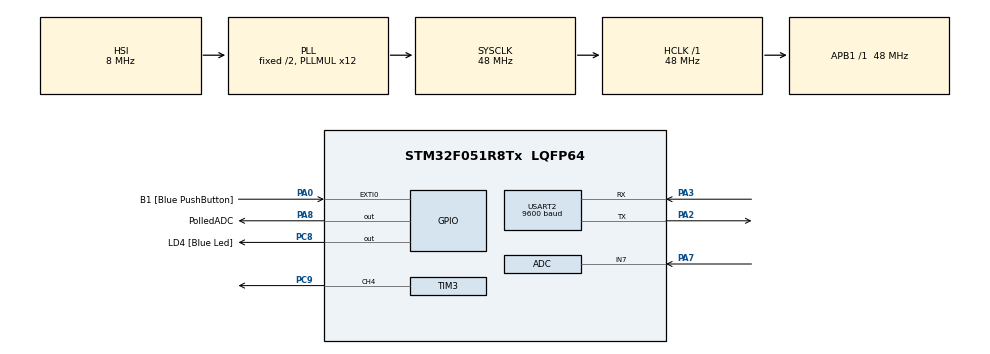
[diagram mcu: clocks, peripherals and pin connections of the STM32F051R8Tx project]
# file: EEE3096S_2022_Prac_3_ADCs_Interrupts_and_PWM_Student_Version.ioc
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Dma.ADC.1.Direction=DMA_PERIPH_TO_MEMORY
Dma.ADC.1.Instance=DMA1_Channel1
Dma.ADC.1.MemDataAlignment=DMA_MDATAALIGN_HALFWORD
Dma.ADC.1.MemInc=DMA_MINC_ENABLE
Dma.ADC.1.Mode=DMA_NORMAL
Dma.ADC.1.PeriphDataAlignment=DMA_PDATAALIGN_HALFWORD
Dma.ADC.1.PeriphInc=DMA_PINC_DISABLE
Dma.ADC.1.Priority=DMA_PRIORITY_LOW
Dma.Request0=USART2_TX
Dma.Request1=ADC
Dma.USART2_TX.0.Direction=DMA_MEMORY_TO_PERIPH
Dma.USART2_TX.0.Instance=DMA1_Channel4
Dma.USART2_TX.0.MemDataAlignment=DMA_MDATAALIGN_BYTE
Dma.USART2_TX.0.MemInc=DMA_MINC_ENABLE
Dma.USART2_TX.0.Mode=DMA_NORMAL
Dma.USART2_TX.0.PeriphDataAlignment=DMA_PDATAALIGN_BYTE
Dma.USART2_TX.0.PeriphInc=DMA_PINC_DISABLE
Dma.USART2_TX.0.Priority=DMA_PRIORITY_LOW
Mcu.Family=STM32F0
Mcu.Name=STM32F051R8Tx
Mcu.Package=LQFP64
NVIC.ADC1_COMP_IRQn=true\:0\:0\:false\:false\:true\:true\:true\:true
NVIC.DMA1_Channel1_IRQn=true\:0\:0\:false\:false\:true\:false\:true\:true
NVIC.DMA1_Channel4_5_IRQn=true\:0\:0\:false\:false\:true\:false\:true\:true
NVIC.EXTI0_1_IRQn=true\:0\:0\:false\:false\:true\:true\:true\:true
NVIC.USART2_IRQn=true\:0\:0\:false\:false\:true\:true\:true\:true
PA0.GPIO_Label=B1 [Blue PushButton]
PA0.GPIO_ModeDefaultEXTI=GPIO_MODE_IT_FALLING
PA0.Signal=GPXTI0
PA13.GPIO_Label=SWDIO
PA13.Mode=Serial_Wire
PA13.Signal=SYS_SWDIO
PA14.GPIO_Label=SWCLK
PA14.Mode=Serial_Wire
PA14.Signal=SYS_SWCLK
PA2.Mode=Asynchronous
PA2.Signal=USART2_TX
PA3.Mode=Asynchronous
PA3.Signal=USART2_RX
PA7.Mode=IN7
PA7.Signal=ADC_IN7
PA8.GPIO_Label=PolledADC
PA8.Signal=GPIO_Output
PB6.Signal=I2C1_SCL
PB7.Signal=I2C1_SDA
PC8.GPIO_Label=LD4 [Blue Led]
PC8.Signal=GPIO_Output
PC9.Signal=S_TIM3_CH4
PF0-OSC_IN.Mode=HSE-External-Oscillator
PF0-OSC_IN.Signal=RCC_OSC_IN
PF1-OSC_OUT.Mode=HSE-External-Oscillator
PF1-OSC_OUT.Signal=RCC_OSC_OUT
ProjectManager.HeapSize=0x200
ProjectManager.StackSize=0x400
ProjectManager.TargetToolchain=STM32CubeIDE
RCC.AHBFreq_Value=48000000
RCC.APB1Freq_Value=48000000
RCC.APB1TimFreq_Value=48000000
RCC.HCLKFreq_Value=48000000
RCC.PLLMUL=RCC_PLL_MUL12
RCC.SYSCLKFreq_VALUE=48000000
RCC.SYSCLKSource=RCC_SYSCLKSOURCE_PLLCLK
SH.S_TIM3_CH4.0=TIM3_CH4,PWM Generation4 CH4
TIM3.AutoReloadPreload=TIM_AUTORELOAD_PRELOAD_ENABLE
TIM3.Channel-PWM\ Generation4\ CH4=TIM_CHANNEL_4
TIM3.Period=47999
USART2.BaudRate=9600
USART2.VirtualMode-Asynchronous=VM_ASYNC
VP_TIM3_VS_ClockSourceINT.Mode=Internal
board=STM32F0DISCOVERY

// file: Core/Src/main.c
/* USER CODE BEGIN Header */
/**
*******************************************************
Info:		STM32 ADCs, GPIO Interrupts and PWM with HAL
Author:		Amaan Vally
******************************************************************************
  */
/* USER CODE END Header */
#include "main.h"

ADC_HandleTypeDef hadc;
DMA_HandleTypeDef hdma_adc;

TIM_HandleTypeDef htim3;

UART_HandleTypeDef huart2;
DMA_HandleTypeDef hdma_usart2_tx;

/* USER CODE BEGIN PV */
char buffer[24];
int arr[32];

//Create global variables for debouncing and delay interval
int DELAY = 1000; //Set initial delay to 1000ms = 1s
int freq = 1;
char data[]={0,1,1,0,1,0,0,0,0,0,0,1,1};
int count = 5;

/* USER CODE END PV */

void SystemClock_Config(void);
static void MX_GPIO_Init(void);
static void MX_DMA_Init(void);
static void MX_USART2_UART_Init(void);
static void MX_ADC_Init(void);
static void MX_TIM3_Init(void);
/* USER CODE BEGIN PFP */
void EXTI0_1_IRQHandler(void);
uint32_t pollADC(void);
uint32_t ADCtoCRR(uint32_t adc_val);
int StartCheck();
int StopCheck(char data[]);
double Decode(char data[]);
/* USER CODE END PFP */

int main(void)
{

  /* MCU Configuration--------------------------------------------------------*/

  /* Reset of all peripherals, Initializes the Flash interface and the Systick. */
  HAL_Init();

  /* Configure the system clock */
  SystemClock_Config();

  /* Initialize all configured peripherals */
  MX_GPIO_Init();
  MX_DMA_Init();
  MX_USART2_UART_Init();
  MX_ADC_Init();
  MX_TIM3_Init();
  /* USER CODE BEGIN 2 */
  //Create variables needed in while loop

  /* USER CODE END 2 */

  /* Infinite loop */
  /* USER CODE BEGIN WHILE */
  while (1)
  {

	  if(StartCheck() == 1)//Checks if the start sequence has occurred
	  {
		  HAL_Delay(200);//Delays by 200ms
		  for(int k = 0; k < 13;k++)//Runs a loop to store the 13 bits of data into a char array
		  {
			if(HAL_GPIO_ReadPin(GPIOA, GPIO_PIN_8) == 1)//Stores a value of 1 if the GPIO Pin reads a high
			{
				data[k] = '1';//Sets the value of 1 into the char array
				HAL_Delay(200);//Delays  by 200ms
				count++;//Adds the number of 1 to the total to use for the parity check
			}
			else
			{
				data[k] = '0';//Sets a value of 0 into the char array
				HAL_Delay(200);//Delays by 200ms
			}
		  }

		  if(parityCheck(count) == 0)//If parity fails message displays
		  {
			  sprintf(buffer, "Message not valid");
			  HAL_UART_Transmit(&huart2, buffer, sizeof(buffer), 1000);
		  }
		  else
		  {
			  sprintf(buffer, "Message IS valid");//If parity passes
			  HAL_UART_Transmit(&huart2, buffer, sizeof(buffer), 1000);
			  sprintf(buffer, "Final Value:%ld\n\r", Decode(data));//Displays the binary message sent as a decimal number
			  HAL_UART_Transmit(&huart2, buffer, sizeof(buffer), 1000);
		  }

		  if(StopCheck(data) == 0)//Checks if the start sequence was correct
		  {
			  sprintf(buffer, "Message Ended");
			  HAL_UART_Transmit(&huart2, buffer, sizeof(buffer), 1000);
		  }

	 // }

  }
    /* USER CODE END WHILE */

}

/**
* @function Decode
* @abstract Converts a binary char array into the correct decimal value
* @param data[] char array to be converted to a double
* @return double The double value that corresponds to the char array that is given as a parameter
*/
double Decode(char data[])
{
	double total = 0;//creates a total varable for the binary value
	for(int a = 0; a <= 11; a++)//Runs a loop to run through the data is big endian format
	{

		if(data[a] == '1')//Checks when the vaue of the array is  1
		{
			double power = pow(2.0,(double)(11-a));//Adds the 1 to the correct power of 2 into the total variable
			total = total + power;
		}
	}
	return total;//Returns the final decimal value
}
/**
* @function parityCheck
* @abstract Checks if the transferred parity bit is correct
* @param int The count of the total number of 1s in the message sequence
* @return int 1 if the parity is correct, 0 if not correct
*/

int parityCheck(int count)//Checks whether the parity bit of the data matches the data
{
	int parity = count%2;//stores the value of the number of 1's mod 2 into a variable
	if(data[12] == parity)//Compares the 13th bit of data(parity bit) to the the parity calculated from the data
	{
		return 1;//Returns 1 if the parity matches
	}
	else
		return 0;//Returns 0 if the partiy does not match
}

/**
* @function StartCheck
* @abstract Checks if the start condition of the message protocol is met
* @param void Reads in the value from the appropriate GPIO Pin
* @return int 1 if the start protocol is met, 0 if it is not met
*/
int StartCheck(void)
{
	for(int a = 0; a < 2;a++)//Starts a loop to check for the first two bits
	{
		if(HAL_GPIO_ReadPin(GPIOA, GPIO_PIN_8) == 1)//Checks if the first bit is a 1
		{
			HAL_Delay(200);//Delays of 200ms before second bit is checked
			if(HAL_GPIO_ReadPin(GPIOA, GPIO_PIN_8) == 1)//Checks to see if the second bit is a 1
					{
						return 1;//Start Sequence is confirmed
					}
			else
				return 0;//Start Sequence  is wrong
		}
		else
			return 0;//Start sequence is wrong
	}

	return 0;
}

/**
* @function StopCheck
* @abstract Checks if the stop condition of the message protocol is met
* @param data[] A char array of the data that is being checked for a stop condition
* @return int 1 if the stop condition is met, 0 if it is not met
*/
int StopCheck(char data[])//Check whether the stop sequence is activated
{
	int end = 0;
	for(int k = 0;k < 13;k++)//Runs loop through all 13 data bits
	{
		if(data[k] != '0')//Checks if the data is received is 0s
		{
			end = 0;//Set end to zero is a zero is received
		}
		else
		{
			end = 1;//Should a 1 be in the message, end will be become 1
			break;//Exits the the loop
		}
	}
	return end;//Return the value of end

}
void SystemClock_Config(void)
{
  RCC_OscInitTypeDef RCC_OscInitStruct = {0};
  RCC_ClkInitTypeDef RCC_ClkInitStruct = {0};

  /** Initializes the RCC Oscillators according to the specified parameters
  * in the RCC_OscInitTypeDef structure.
  */
  RCC_OscInitStruct.OscillatorType = RCC_OSCILLATORTYPE_HSI|RCC_OSCILLATORTYPE_HSI14;
  RCC_OscInitStruct.HSIState = RCC_HSI_ON;
  RCC_OscInitStruct.HSI14State = RCC_HSI14_ON;
  RCC_OscInitStruct.HSICalibrationValue = RCC_HSICALIBRATION_DEFAULT;
  RCC_OscInitStruct.HSI14CalibrationValue = 16;
  RCC_OscInitStruct.PLL.PLLState = RCC_PLL_NONE;
  RCC_OscInitStruct.PLL.PLLSource = RCC_PLLSOURCE_HSI;
  RCC_OscInitStruct.PLL.PLLMUL = RCC_PLL_MUL12;
  RCC_OscInitStruct.PLL.PREDIV = RCC_PREDIV_DIV1;
  if (HAL_RCC_OscConfig(&RCC_OscInitStruct) != HAL_OK)
  {
    Error_Handler();
  }

  /** Initializes the CPU, AHB and APB buses clocks
  */
  RCC_ClkInitStruct.ClockType = RCC_CLOCKTYPE_HCLK|RCC_CLOCKTYPE_SYSCLK
                              |RCC_CLOCKTYPE_PCLK1;
  RCC_ClkInitStruct.SYSCLKSource = RCC_SYSCLKSOURCE_PLLCLK;
  RCC_ClkInitStruct.AHBCLKDivider = RCC_SYSCLK_DIV1;
  RCC_ClkInitStruct.APB1CLKDivider = RCC_HCLK_DIV1;

  if (HAL_RCC_ClockConfig(&RCC_ClkInitStruct, FLASH_LATENCY_1) != HAL_OK)
  {
    Error_Handler();
  }
}

static void MX_ADC_Init(void)
{

  ADC_ChannelConfTypeDef sConfig = {0};

  /** Configure the global features of the ADC (Clock, Resolution, Data Alignment and number of conversion)
  */
  hadc.Instance = ADC1;
  hadc.Init.ClockPrescaler = ADC_CLOCK_ASYNC_DIV1;
  hadc.Init.Resolution = ADC_RESOLUTION_12B;
  hadc.Init.DataAlign = ADC_DATAALIGN_RIGHT;
  hadc.Init.ScanConvMode = ADC_SCAN_DIRECTION_FORWARD;
  hadc.Init.EOCSelection = ADC_EOC_SINGLE_CONV;
  hadc.Init.LowPowerAutoWait = DISABLE;
  hadc.Init.LowPowerAutoPowerOff = DISABLE;
  hadc.Init.ContinuousConvMode = DISABLE;
  hadc.Init.DiscontinuousConvMode = DISABLE;
  hadc.Init.ExternalTrigConv = ADC_SOFTWARE_START;
  hadc.Init.ExternalTrigConvEdge = ADC_EXTERNALTRIGCONVEDGE_NONE;
  hadc.Init.DMAContinuousRequests = DISABLE;
  hadc.Init.Overrun = ADC_OVR_DATA_PRESERVED;
  if (HAL_ADC_Init(&hadc) != HAL_OK)
  {
    Error_Handler();
  }

  /** Configure for the selected ADC regular channel to be converted.
  */
  sConfig.Channel = ADC_CHANNEL_7;
  sConfig.Rank = ADC_RANK_CHANNEL_NUMBER;
  sConfig.SamplingTime = ADC_SAMPLETIME_1CYCLE_5;
  if (HAL_ADC_ConfigChannel(&hadc, &sConfig) != HAL_OK)
  {
    Error_Handler();
  }

}

static void MX_TIM3_Init(void)
{

  TIM_ClockConfigTypeDef sClockSourceConfig = {0};
  TIM_MasterConfigTypeDef sMasterConfig = {0};
  TIM_OC_InitTypeDef sConfigOC = {0};

  htim3.Instance = TIM3;
  htim3.Init.Prescaler = 0;
  htim3.Init.CounterMode = TIM_COUNTERMODE_UP;
  htim3.Init.Period = 47999;
  htim3.Init.ClockDivision = TIM_CLOCKDIVISION_DIV1;
  htim3.Init.AutoReloadPreload = TIM_AUTORELOAD_PRELOAD_ENABLE;
  if (HAL_TIM_Base_Init(&htim3) != HAL_OK)
  {
    Error_Handler();
  }
  sClockSourceConfig.ClockSource = TIM_CLOCKSOURCE_INTERNAL;
  if (HAL_TIM_ConfigClockSource(&htim3, &sClockSourceConfig) != HAL_OK)
  {
    Error_Handler();
  }
  if (HAL_TIM_PWM_Init(&htim3) != HAL_OK)
  {
    Error_Handler();
  }
  sMasterConfig.MasterOutputTrigger = TIM_TRGO_RESET;
  sMasterConfig.MasterSlaveMode = TIM_MASTERSLAVEMODE_DISABLE;
  if (HAL_TIMEx_MasterConfigSynchronization(&htim3, &sMasterConfig) != HAL_OK)
  {
    Error_Handler();
  }
  sConfigOC.OCMode = TIM_OCMODE_PWM1;
  sConfigOC.Pulse = 0;
  sConfigOC.OCPolarity = TIM_OCPOLARITY_HIGH;
  sConfigOC.OCFastMode = TIM_OCFAST_DISABLE;
  if (HAL_TIM_PWM_ConfigChannel(&htim3, &sConfigOC, TIM_CHANNEL_4) != HAL_OK)
  {
    Error_Handler();
  }
  HAL_TIM_MspPostInit(&htim3);

}

static void MX_USART2_UART_Init(void)
{

  huart2.Instance = USART2;
  huart2.Init.BaudRate = 9600;
  huart2.Init.WordLength = UART_WORDLENGTH_8B;
  huart2.Init.StopBits = UART_STOPBITS_1;
  huart2.Init.Parity = UART_PARITY_NONE;
  huart2.Init.Mode = UART_MODE_TX_RX;
  huart2.Init.HwFlowCtl = UART_HWCONTROL_NONE;
  huart2.Init.OverSampling = UART_OVERSAMPLING_16;
  huart2.Init.OneBitSampling = UART_ONE_BIT_SAMPLE_DISABLE;
  huart2.AdvancedInit.AdvFeatureInit = UART_ADVFEATURE_NO_INIT;
  if (HAL_UART_Init(&huart2) != HAL_OK)
  {
    Error_Handler();
  }

}

static void MX_DMA_Init(void)
{

  /* DMA controller clock enable */
  __HAL_RCC_DMA1_CLK_ENABLE();

  /* DMA interrupt init */
  /* DMA1_Channel1_IRQn interrupt configuration */
  HAL_NVIC_SetPriority(DMA1_Channel1_IRQn, 0, 0);
  HAL_NVIC_EnableIRQ(DMA1_Channel1_IRQn);
  /* DMA1_Channel4_5_IRQn interrupt configuration */
  HAL_NVIC_SetPriority(DMA1_Channel4_5_IRQn, 0, 0);
  HAL_NVIC_EnableIRQ(DMA1_Channel4_5_IRQn);

}

static void MX_GPIO_Init(void)
{
  GPIO_InitTypeDef GPIO_InitStruct = {0};

  /* GPIO Ports Clock Enable */
  __HAL_RCC_GPIOF_CLK_ENABLE();
  __HAL_RCC_GPIOA_CLK_ENABLE();
  __HAL_RCC_GPIOC_CLK_ENABLE();
  __HAL_RCC_GPIOB_CLK_ENABLE();

  /*Configure GPIO pin Output Level */
  HAL_GPIO_WritePin(LD4_GPIO_Port, LD4_Pin, GPIO_PIN_RESET);

  /*Configure GPIO pin Output Level */
  HAL_GPIO_WritePin(PolledADC_GPIO_Port, PolledADC_Pin, GPIO_PIN_RESET);

  /*Configure GPIO pin : B1_Pin */
  GPIO_InitStruct.Pin = B1_Pin;
  GPIO_InitStruct.Mode = GPIO_MODE_IT_FALLING;
  GPIO_InitStruct.Pull = GPIO_NOPULL;
  HAL_GPIO_Init(B1_GPIO_Port, &GPIO_InitStruct);

  /*Configure GPIO pin : LD4_Pin */
  GPIO_InitStruct.Pin = LD4_Pin;
  GPIO_InitStruct.Mode = GPIO_MODE_OUTPUT_PP;
  GPIO_InitStruct.Pull = GPIO_NOPULL;
  GPIO_InitStruct.Speed = GPIO_SPEED_FREQ_LOW;
  HAL_GPIO_Init(LD4_GPIO_Port, &GPIO_InitStruct);

  /*Configure GPIO pin : PolledADC_Pin */
  GPIO_InitStruct.Pin = PolledADC_Pin;
  GPIO_InitStruct.Mode = GPIO_MODE_OUTPUT_PP;
  GPIO_InitStruct.Pull = GPIO_NOPULL;
  GPIO_InitStruct.Speed = GPIO_SPEED_FREQ_LOW;
  HAL_GPIO_Init(PolledADC_GPIO_Port, &GPIO_InitStruct);

  /*Configure GPIO pins : PB6 PB7 */
  GPIO_InitStruct.Pin = GPIO_PIN_6|GPIO_PIN_7;
  GPIO_InitStruct.Mode = GPIO_MODE_AF_OD;
  GPIO_InitStruct.Pull = GPIO_NOPULL;
  GPIO_InitStruct.Speed = GPIO_SPEED_FREQ_HIGH;
  GPIO_InitStruct.Alternate = GPIO_AF1_I2C1;
  HAL_GPIO_Init(GPIOB, &GPIO_InitStruct);

  /* EXTI interrupt init*/
  HAL_NVIC_SetPriority(EXTI0_1_IRQn, 0, 0);
  HAL_NVIC_EnableIRQ(EXTI0_1_IRQn);

}

/* USER CODE BEGIN 4 */
void EXTI0_1_IRQHandler(void)
{

	//TASK 1
	//Switch delay frequency

	if (DELAY == 1000) {
		DELAY = 2000;
	}
	else {
		DELAY = 1000;
	}

	HAL_GPIO_EXTI_IRQHandler(B1_Pin); // Clear interrupt flags
}

uint32_t pollADC(void){

	//TASK 1
	HAL_ADC_Start(&hadc); //Start the ADC

	HAL_ADC_PollForConversion(&hadc, 1); //Poll for conversion

	uint32_t adc_val = HAL_ADC_GetValue(&hadc); //Get the ADC value

	HAL_ADC_Stop(&hadc); //Stop ADC

	return adc_val; //Return the ADC Value

	// Code referenced from: https://controllerstech.com/stm32-adc-single-channel/
}

/* USER CODE END 4 */

void Error_Handler(void)
{
  __disable_irq();
}
